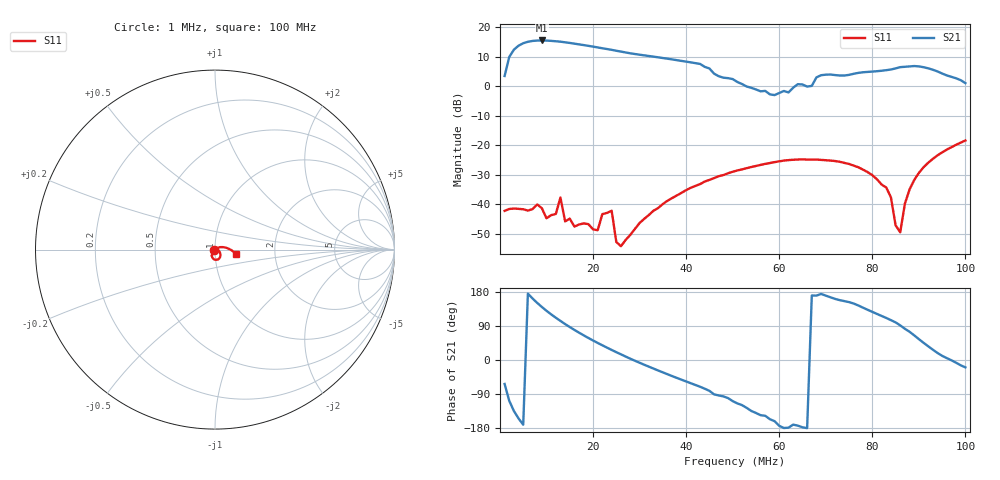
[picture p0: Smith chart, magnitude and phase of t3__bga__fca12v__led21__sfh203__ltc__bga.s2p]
# HZ S RI R 50
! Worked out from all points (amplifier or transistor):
!   100 points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, 1 MHz to 100 MHz, reference 50 ohm
!   highest |S21| = 15.5 dB at 9 MHz (marker M1)
!   |S21| within 3 dB of that: 3.09 MHz to 23.34 MHz (20.25 MHz wide, 153 % of centre)
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1000001  -0.00768 -0.000284  0.6723 -1.334  0 0  0 0
2000001  -0.00827 0.000438  -0.9604 -2.997  0 0  0 0
3000001  -0.00841 -0.000103  -2.937 -2.977  0 0  0 0
5000001  -0.00815 0.000858  -5.305 -0.8605  0 0  0 0
7000001  -0.00809 0.00146  -5.6 1.78  0 0  0 0
9000001  -0.00766 0.00374  -4.587 3.851  0 0  0 0
1.1e7  -0.006 0.00249  -2.987 5.083  0 0  0 0
1.3e7  -0.0123 0.00402  -1.297 5.563  0 0  0 0
1.8e7  -0.00438 0.00173  2.111 4.529  0 0  0 0
2.4e7  -0.00716 0.00292  3.711 1.86  0 0  0 0
2.6e7  -0.00115 0.00155  3.746 0.9992  0 0  0 0
3.4e7  0.00853 0.00112  2.741 -1.442  0 0  0 0
4.3e7  0.0206 -0.00718  0.7979 -2.257  0 0  0 0
5.1e7  0.0293 -0.0231  -0.4906 -1.077  0 0  0 0
6.7e7  0.00781 -0.0566  -1.001 0.1721  0 0  0 0
6.9e7  0.00226 -0.0562  -1.533 0.1513  0 0  0 0
7.6e7  -0.0151 -0.0424  -1.396 0.8386  0 0  0 0
8.4e7  -0.00937 -0.00905  -0.5031 1.859  0 0  0 0
8.6e7  0.00153 0.00296  -0.0493 2.111  0 0  0 0
8.9e7  0.0225 0.0123  0.9296 1.998  0 0  0 0
9.2e7  0.0486 0.013  1.627 1.193  0 0  0 0
1e8  0.1173 -0.0263  1.066 -0.3754  0 0  0 0
